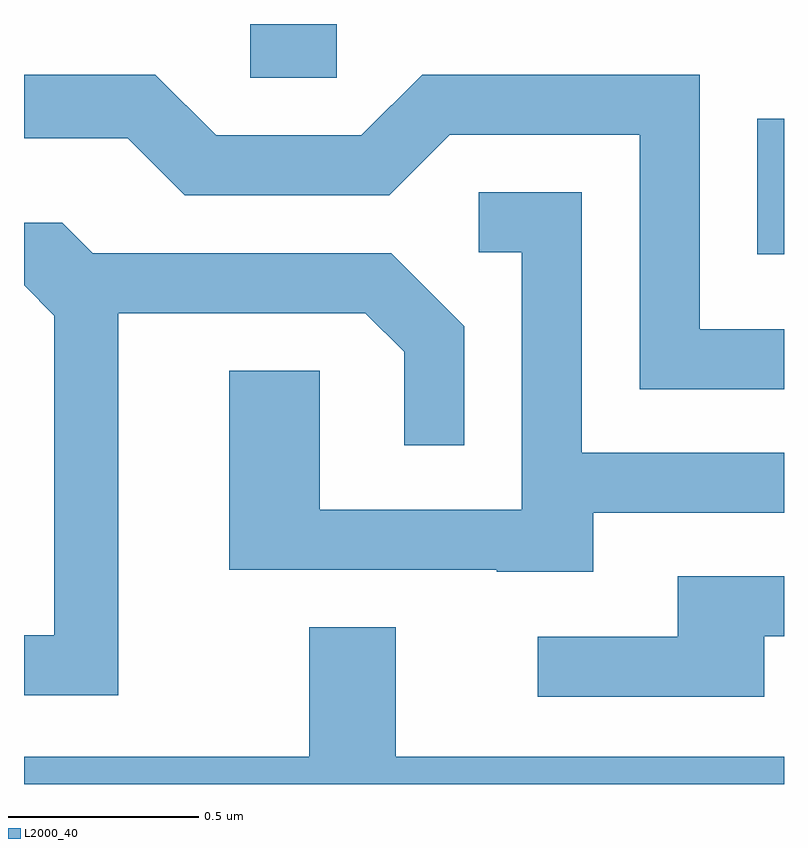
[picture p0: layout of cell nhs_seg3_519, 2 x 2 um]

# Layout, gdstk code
import gdstk
lib = gdstk.Library(unit=1e-6, precision=1e-09)
def R(c, l, rs):  # rectangles x0, y0, x1, y1
    for r in rs: c.add(gdstk.rectangle(r[:2], r[2:], *l))
def P(c, l, *ps):  # polygons
    for p in ps: c.add(gdstk.Polygon(p, *l))
L2000_40 = (2000, 40)

nhs_seg3_519 = lib.new_cell('nhs_seg3_519')
R(nhs_seg3_519, L2000_40, [(190.541,1225.286,190.611,1225.643), (189.206,1225.751,189.434,1225.892)])
P(nhs_seg3_519, L2000_40, [(190.611,1225.089),(190.389,1225.089),(190.389,1225.759),(189.659,1225.759),(189.499,1225.599),(189.117,1225.599),(188.957,1225.759),(188.611,1225.759),(188.611,1225.591),(188.884,1225.591),(189.034,1225.441),(189.572,1225.441),(189.732,1225.601),(190.231,1225.601),(190.231,1224.931),(190.611,1224.931)],
  [(190.109,1224.606),(190.611,1224.606),(190.611,1224.764),(190.079,1224.764),(190.079,1225.449),(189.808,1225.449),(189.808,1225.291),(189.921,1225.291),(189.921,1224.614),(189.389,1224.614),(189.389,1224.979),(189.151,1224.979),(189.151,1224.456),(189.855,1224.456),(189.855,1224.451),(190.109,1224.451)],
  [(188.859,1225.131),(189.509,1225.131),(189.611,1225.029),(189.611,1224.783),(189.769,1224.783),(189.769,1225.097),(189.577,1225.289),(188.792,1225.289),(188.712,1225.369),(188.611,1225.369),(188.611,1225.204),(188.691,1225.124),(188.691,1224.284),(188.611,1224.284),(188.611,1224.126),(188.859,1224.126)],
  [(190.559,1224.281),(190.611,1224.281),(190.611,1224.439),(190.331,1224.439),(190.331,1224.279),(189.963,1224.279),(189.963,1224.121),(190.559,1224.121)],
  [(190.611,1223.964),(189.589,1223.964),(189.589,1224.304),(189.361,1224.304),(189.361,1223.964),(188.611,1223.964),(188.611,1223.892),(190.611,1223.892)])

lib.write_gds('nhs_seg3_519.gds')
